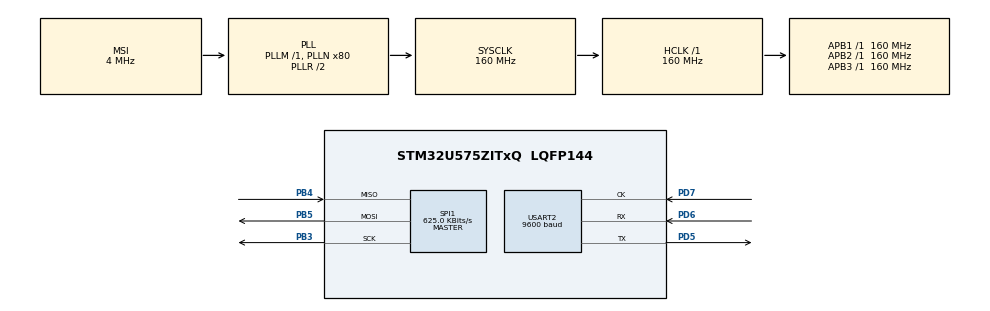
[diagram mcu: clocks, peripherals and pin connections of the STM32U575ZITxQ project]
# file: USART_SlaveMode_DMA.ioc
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CORTEX_M33_NS.userName=CORTEX_M33
GPDMA1.DESTINC_GPDMACH1=DMA_DINC_INCREMENTED
GPDMA1.DESTINC_GPDMACH3=DMA_DINC_INCREMENTED
GPDMA1.DIRECTION_GPDMACH0=DMA_MEMORY_TO_PERIPH
GPDMA1.DIRECTION_GPDMACH2=DMA_MEMORY_TO_PERIPH
GPDMA1.IPHANDLE_GPDMACH0-SIMPLEREQUEST_GPDMACH0=__NULL
GPDMA1.IPHANDLE_GPDMACH1-SIMPLEREQUEST_GPDMACH1=__NULL
GPDMA1.IPHANDLE_GPDMACH2-SIMPLEREQUEST_GPDMACH2=__NULL
GPDMA1.IPHANDLE_GPDMACH3-SIMPLEREQUEST_GPDMACH3=__NULL
GPDMA1.PRIORITY_GPDMACH0=DMA_HIGH_PRIORITY
GPDMA1.PRIORITY_GPDMACH1=DMA_HIGH_PRIORITY
GPDMA1.PRIORITY_GPDMACH2=DMA_HIGH_PRIORITY
GPDMA1.PRIORITY_GPDMACH3=DMA_HIGH_PRIORITY
GPDMA1.REQUEST_GPDMACH0=GPDMA1_REQUEST_USART2_TX
GPDMA1.REQUEST_GPDMACH1=GPDMA1_REQUEST_USART2_RX
GPDMA1.REQUEST_GPDMACH2=GPDMA1_REQUEST_SPI1_TX
GPDMA1.REQUEST_GPDMACH3=GPDMA1_REQUEST_SPI1_RX
GPDMA1.SRCINC_GPDMACH0=DMA_SINC_INCREMENTED
GPDMA1.SRCINC_GPDMACH2=DMA_SINC_INCREMENTED
GPDMA1.SRCINC_GPDMACH3=DMA_SINC_FIXED
GPDMA1.TRANSFERALLOCATEDPORTDEST_GPDMACH0=DMA_DEST_ALLOCATED_PORT1
GPDMA1.TRANSFERALLOCATEDPORTDEST_GPDMACH1=DMA_DEST_ALLOCATED_PORT1
GPDMA1.TRANSFERALLOCATEDPORTDEST_GPDMACH2=DMA_DEST_ALLOCATED_PORT1
GPDMA1.TRANSFERALLOCATEDPORTDEST_GPDMACH3=DMA_DEST_ALLOCATED_PORT1
Mcu.Family=STM32U5
Mcu.Name=STM32U575ZITxQ
Mcu.Package=LQFP144
NVIC.GPDMA1_Channel0_IRQn=true\:0\:0\:false\:false\:true\:false\:true\:true
NVIC.GPDMA1_Channel1_IRQn=true\:0\:0\:false\:false\:true\:false\:true\:true
NVIC.GPDMA1_Channel2_IRQn=true\:0\:0\:false\:false\:true\:false\:true\:true
NVIC.GPDMA1_Channel3_IRQn=true\:0\:0\:false\:false\:true\:false\:true\:true
NVIC.PriorityGroup=NVIC_PRIORITYGROUP_4
NVIC.SPI1_IRQn=true\:0\:0\:false\:false\:true\:true\:true\:true
NVIC.USART2_IRQn=true\:0\:0\:false\:false\:true\:true\:true\:true
PB3\ (JTDO/TRACESWO).GPIO_PuPd=GPIO_NOPULL
PB3\ (JTDO/TRACESWO).GPIO_Speed=GPIO_SPEED_FREQ_VERY_HIGH
PB3\ (JTDO/TRACESWO).Mode=Full_Duplex_Master
PB3\ (JTDO/TRACESWO).Signal=SPI1_SCK
PB4\ (NJTRST).GPIO_PuPd=GPIO_NOPULL
PB4\ (NJTRST).GPIO_Speed=GPIO_SPEED_FREQ_VERY_HIGH
PB4\ (NJTRST).Mode=Full_Duplex_Master
PB4\ (NJTRST).Signal=SPI1_MISO
PB5.GPIO_PuPd=GPIO_NOPULL
PB5.GPIO_Speed=GPIO_SPEED_FREQ_VERY_HIGH
PB5.Mode=Full_Duplex_Master
PB5.Signal=SPI1_MOSI
PD5.GPIO_PuPd=GPIO_NOPULL
PD5.GPIO_Speed=GPIO_SPEED_FREQ_VERY_HIGH
PD5.Mode=Synchronous Slave
PD5.Signal=USART2_TX
PD6.GPIO_PuPd=GPIO_NOPULL
PD6.GPIO_Speed=GPIO_SPEED_FREQ_VERY_HIGH
PD6.Mode=Synchronous Slave
PD6.Signal=USART2_RX
PD7.GPIO_PuPd=GPIO_NOPULL
PD7.GPIO_Speed=GPIO_SPEED_FREQ_VERY_HIGH
PD7.Mode=Synchronous Slave
PD7.Signal=USART2_CK
PWR.PowerMode=PWR_SMPS_SUPPLY
ProjectManager.HeapSize=0x200
ProjectManager.StackSize=0x400
ProjectManager.TargetToolchain=EWARM V8.50
RCC.ADCFreq_Value=16000000
RCC.AHBFreq_Value=160000000
RCC.APB1Freq_Value=160000000
RCC.APB1TimFreq_Value=160000000
RCC.APB2Freq_Value=160000000
RCC.APB2TimFreq_Value=160000000
RCC.APB3Freq_Value=160000000
RCC.CortexFreq_Value=160000000
RCC.DACCLockSelectionVirtual=RCC_DAC1CLKSOURCE_LSI
RCC.DACCLockSelectionVirtualString=RCC_DAC1CLKSOURCE_LSI
RCC.EPOD_VALUE=4000000
RCC.HCLKFreq_Value=160000000
RCC.HSE_VALUE=16000000
RCC.HSI48_VALUE=48000000
RCC.HSI_VALUE=16000000
RCC.LSE_VALUE=32768
RCC.LSIDIV_VALUE=32000
RCC.MSI_VALUE=4000000
RCC.PLLN=80
RCC.SYSCLKFreq_VALUE=160000000
RCC.SYSCLKSource=RCC_SYSCLKSOURCE_PLLCLK
RCC.USBFreq_Value=48000000
RCC.VCOOutputFreq_Value=320000000
SPI1.BaudRatePrescaler=SPI_BAUDRATEPRESCALER_256
SPI1.CalculateBaudRate=625.0 KBits/s
SPI1.DataSize=SPI_DATASIZE_8BIT
SPI1.Direction=SPI_DIRECTION_2LINES
SPI1.FirstBit=SPI_FIRSTBIT_LSB
SPI1.MasterKeepIOState=SPI_MASTER_KEEP_IO_STATE_ENABLE
SPI1.Mode=SPI_MODE_MASTER
SPI1.NSSPMode=SPI_NSS_PULSE_DISABLE
SPI1.VirtualType=VM_MASTER
USART2.BaudRate=9600
USART2.CLKLastBit=USART_LASTBIT_ENABLE
USART2.RXFIFOThreshold=RXFIFO_THRESHOLD_1EIGHTHFULL
USART2.TXFIFOThreshold=TXFIFO_THRESHOLD_1EIGHTHFULL
USART2.VirtualMode-Synchronous\ Slave=VM_SYNC
VP_GPDMA1_VS_GPDMACH0.Mode=SIMPLEREQUEST_GPDMACH0
VP_GPDMA1_VS_GPDMACH1.Mode=SIMPLEREQUEST_GPDMACH1
VP_GPDMA1_VS_GPDMACH2.Mode=SIMPLEREQUEST_GPDMACH2
VP_GPDMA1_VS_GPDMACH3.Mode=SIMPLEREQUEST_GPDMACH3
VP_ICACHE_VS_ICACHE.Mode=DirectMappedCache
VP_LPBAMQUEUE_VS_QUEUE.Mode=QUEUEMODE
VP_LPBAM_VS_SIG1.Mode=SmartRun
VP_LPBAM_VS_SIG4.Mode=LPDMA1
VP_PWR_VS_DBSignals.Mode=DisableDeadBatterySignals
VP_PWR_VS_LPOM.Mode=PowerOptimisation
VP_PWR_VS_SECSignals.Mode=Security/Privilege
board=custom

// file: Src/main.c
/* USER CODE BEGIN Header */
/**
  ******************************************************************************
  * @file           : main.c
  * @brief          : Main program body
  ******************************************************************************
  * @attention
  *
  * Copyright (c) 2021 STMicroelectronics.
  * All rights reserved.
  *
  * This software is licensed under terms that can be found in the LICENSE file
  * in the root directory of this software component.
  * If no LICENSE file comes with this software, it is provided AS-IS.
  *
  ******************************************************************************
  */
/* USER CODE END Header */
#include "main.h"

SPI_HandleTypeDef hspi1;
DMA_HandleTypeDef handle_GPDMA1_Channel3;
DMA_HandleTypeDef handle_GPDMA1_Channel2;

USART_HandleTypeDef husart2;
DMA_HandleTypeDef handle_GPDMA1_Channel1;
DMA_HandleTypeDef handle_GPDMA1_Channel0;

/* USER CODE BEGIN PV */
__IO uint32_t UserButtonStatus = 0; /* set to 1 after User Button interrupt */
__IO ITStatus UsartReady = RESET;
__IO ITStatus SpiReady = RESET;

/* Buffer used for transmission */
uint8_t aTxBuffer[] = " **** USART_SlaveMode ****  **** USART_SlaveMode ****  **** USART_SlaveMode **** ";

/* Buffer used for reception */
uint8_t aRxBuffer[RXBUFFERSIZE];
/* USER CODE END PV */

void SystemClock_Config(void);
static void SystemPower_Config(void);
static void MX_GPIO_Init(void);
static void MX_GPDMA1_Init(void);
static void MX_ICACHE_Init(void);
static void MX_USART2_Init(void);
static void MX_SPI1_Init(void);
/* USER CODE BEGIN PFP */
static uint16_t Buffercmp(uint8_t* pBuffer1, uint8_t* pBuffer2, uint16_t BufferLength);
/* USER CODE END PFP */

int main(void)
{

  /* USER CODE BEGIN 1 */
  /* STM32U5xx HAL library initialization:
       - Configure the Flash prefetch
       - Configure the Systick to generate an interrupt each 1 msec
       - Set NVIC Group Priority to 3
       - Low Level Initialization
     */
  /* USER CODE END 1 */

  /* MCU Configuration--------------------------------------------------------*/

  /* Reset of all peripherals, Initializes the Flash interface and the Systick. */
  HAL_Init();

  /* Configure the System Power */
  SystemPower_Config();

  /* Configure the system clock */
  SystemClock_Config();

  /* Initialize all configured peripherals */
  MX_GPIO_Init();
  MX_GPDMA1_Init();
  MX_ICACHE_Init();
  MX_USART2_Init();
  MX_SPI1_Init();
  /* USER CODE BEGIN 2 */
  /* Configure LED1, LED2 and LED3 */
  BSP_LED_Init(LED1);
  BSP_LED_Init(LED2);
  BSP_LED_Init(LED3);

#ifdef SLAVE_BOARD
  /* Configure the Slave Select input pin */
  HAL_USARTEx_ConfigNSS(&husart2, USART_NSS_SOFT);

  /*##-2- Start the transmission/reception process ###########################*/
  if(HAL_USART_TransmitReceive_DMA(&husart2, (uint8_t*)aTxBuffer, (uint8_t*)aRxBuffer, TXBUFFERSIZE)!= HAL_OK)
  {
    Error_Handler();
  }

  /* Wait of USART state ready */
  while(UsartReady == RESET)
  {
    /* Toggle LED2*/
    BSP_LED_Toggle(LED2);
    HAL_Delay(100);
  }
  BSP_LED_Off(LED2);

#else

   /* Configure User push-button in Interrupt mode */
  BSP_PB_Init(BUTTON_USER, BUTTON_MODE_EXTI);

  /* Wait for User push-button press before starting the Communication.
     In the meantime, LED2 is blinking */
  while(UserButtonStatus == 0)
  {
    /* Toggle LED2*/
    BSP_LED_Toggle(LED2);
    HAL_Delay(100);
  }
  BSP_LED_Off(LED2);

  /*##-2- Start the transmission/reception process ###########################*/
  if(HAL_SPI_TransmitReceive_DMA(&hspi1, (uint8_t*)aTxBuffer, (uint8_t*)aRxBuffer, TXBUFFERSIZE)!= HAL_OK)
  {
    Error_Handler();
  }

  /* Wait of SPI state ready */
  while(SpiReady == RESET);

#endif /* SLAVE_BOARD */

  /*##-4- Compare the sent and received buffers ##############################*/
  if(Buffercmp((uint8_t*)aTxBuffer,(uint8_t*)aRxBuffer,RXBUFFERSIZE))
  {
    Error_Handler();
  }

  /* Turn on LED1 if test passes then enter infinite loop */
  BSP_LED_On(LED1);
  /* USER CODE END 2 */

  /* Infinite loop */
  while (1)
  {

  }
}

void SystemClock_Config(void)
{
  RCC_OscInitTypeDef RCC_OscInitStruct = {0};
  RCC_ClkInitTypeDef RCC_ClkInitStruct = {0};

  /** Configure the main internal regulator output voltage
  */
  if (HAL_PWREx_ControlVoltageScaling(PWR_REGULATOR_VOLTAGE_SCALE1) != HAL_OK)
  {
    Error_Handler();
  }

  /** Initializes the CPU, AHB and APB buses clocks
  */
  RCC_OscInitStruct.OscillatorType = RCC_OSCILLATORTYPE_MSI;
  RCC_OscInitStruct.MSIState = RCC_MSI_ON;
  RCC_OscInitStruct.MSICalibrationValue = RCC_MSICALIBRATION_DEFAULT;
  RCC_OscInitStruct.MSIClockRange = RCC_MSIRANGE_4;
  RCC_OscInitStruct.PLL.PLLState = RCC_PLL_ON;
  RCC_OscInitStruct.PLL.PLLSource = RCC_PLLSOURCE_MSI;
  RCC_OscInitStruct.PLL.PLLMBOOST = RCC_PLLMBOOST_DIV1;
  RCC_OscInitStruct.PLL.PLLM = 1;
  RCC_OscInitStruct.PLL.PLLN = 80;
  RCC_OscInitStruct.PLL.PLLP = 2;
  RCC_OscInitStruct.PLL.PLLQ = 2;
  RCC_OscInitStruct.PLL.PLLR = 2;
  RCC_OscInitStruct.PLL.PLLRGE = RCC_PLLVCIRANGE_0;
  RCC_OscInitStruct.PLL.PLLFRACN = 0;
  if (HAL_RCC_OscConfig(&RCC_OscInitStruct) != HAL_OK)
  {
    Error_Handler();
  }

  /** Initializes the CPU, AHB and APB buses clocks
  */
  RCC_ClkInitStruct.ClockType = RCC_CLOCKTYPE_HCLK|RCC_CLOCKTYPE_SYSCLK
                              |RCC_CLOCKTYPE_PCLK1|RCC_CLOCKTYPE_PCLK2
                              |RCC_CLOCKTYPE_PCLK3;
  RCC_ClkInitStruct.SYSCLKSource = RCC_SYSCLKSOURCE_PLLCLK;
  RCC_ClkInitStruct.AHBCLKDivider = RCC_SYSCLK_DIV1;
  RCC_ClkInitStruct.APB1CLKDivider = RCC_HCLK_DIV1;
  RCC_ClkInitStruct.APB2CLKDivider = RCC_HCLK_DIV1;
  RCC_ClkInitStruct.APB3CLKDivider = RCC_HCLK_DIV1;

  if (HAL_RCC_ClockConfig(&RCC_ClkInitStruct, FLASH_LATENCY_4) != HAL_OK)
  {
    Error_Handler();
  }
}

/**
  * @brief Power Configuration
  * @retval None
  */
static void SystemPower_Config(void)
{

  /*
   * Disable the internal Pull-Up in Dead Battery pins of UCPD peripheral
   */
  HAL_PWREx_DisableUCPDDeadBattery();

  /*
   * Switch to SMPS regulator instead of LDO
   */
  if (HAL_PWREx_ConfigSupply(PWR_SMPS_SUPPLY) != HAL_OK)
  {
    Error_Handler();
  }
}

static void MX_GPDMA1_Init(void)
{

  /* Peripheral clock enable */
  __HAL_RCC_GPDMA1_CLK_ENABLE();

  /* GPDMA1 interrupt Init */
    HAL_NVIC_SetPriority(GPDMA1_Channel0_IRQn, 0, 0);
    HAL_NVIC_EnableIRQ(GPDMA1_Channel0_IRQn);
    HAL_NVIC_SetPriority(GPDMA1_Channel1_IRQn, 0, 0);
    HAL_NVIC_EnableIRQ(GPDMA1_Channel1_IRQn);
    HAL_NVIC_SetPriority(GPDMA1_Channel2_IRQn, 0, 0);
    HAL_NVIC_EnableIRQ(GPDMA1_Channel2_IRQn);
    HAL_NVIC_SetPriority(GPDMA1_Channel3_IRQn, 0, 0);
    HAL_NVIC_EnableIRQ(GPDMA1_Channel3_IRQn);

}

static void MX_ICACHE_Init(void)
{

  /** Enable instruction cache in 1-way (direct mapped cache)
  */
  if (HAL_ICACHE_ConfigAssociativityMode(ICACHE_1WAY) != HAL_OK)
  {
    Error_Handler();
  }
  if (HAL_ICACHE_Enable() != HAL_OK)
  {
    Error_Handler();
  }

}

static void MX_SPI1_Init(void)
{

  SPI_AutonomousModeConfTypeDef HAL_SPI_AutonomousMode_Cfg_Struct = {0};

  /* SPI1 parameter configuration*/
  hspi1.Instance = SPI1;
  hspi1.Init.Mode = SPI_MODE_MASTER;
  hspi1.Init.Direction = SPI_DIRECTION_2LINES;
  hspi1.Init.DataSize = SPI_DATASIZE_8BIT;
  hspi1.Init.CLKPolarity = SPI_POLARITY_LOW;
  hspi1.Init.CLKPhase = SPI_PHASE_1EDGE;
  hspi1.Init.NSS = SPI_NSS_SOFT;
  hspi1.Init.BaudRatePrescaler = SPI_BAUDRATEPRESCALER_256;
  hspi1.Init.FirstBit = SPI_FIRSTBIT_LSB;
  hspi1.Init.TIMode = SPI_TIMODE_DISABLE;
  hspi1.Init.CRCCalculation = SPI_CRCCALCULATION_DISABLE;
  hspi1.Init.CRCPolynomial = 0x7;
  hspi1.Init.NSSPMode = SPI_NSS_PULSE_DISABLE;
  hspi1.Init.NSSPolarity = SPI_NSS_POLARITY_LOW;
  hspi1.Init.FifoThreshold = SPI_FIFO_THRESHOLD_01DATA;
  hspi1.Init.MasterSSIdleness = SPI_MASTER_SS_IDLENESS_00CYCLE;
  hspi1.Init.MasterInterDataIdleness = SPI_MASTER_INTERDATA_IDLENESS_00CYCLE;
  hspi1.Init.MasterReceiverAutoSusp = SPI_MASTER_RX_AUTOSUSP_DISABLE;
  hspi1.Init.MasterKeepIOState = SPI_MASTER_KEEP_IO_STATE_ENABLE;
  hspi1.Init.IOSwap = SPI_IO_SWAP_DISABLE;
  hspi1.Init.ReadyMasterManagement = SPI_RDY_MASTER_MANAGEMENT_INTERNALLY;
  hspi1.Init.ReadyPolarity = SPI_RDY_POLARITY_HIGH;
  if (HAL_SPI_Init(&hspi1) != HAL_OK)
  {
    Error_Handler();
  }
  HAL_SPI_AutonomousMode_Cfg_Struct.TriggerState = SPI_AUTO_MODE_DISABLE;
  HAL_SPI_AutonomousMode_Cfg_Struct.TriggerSelection = SPI_GRP1_GPDMA_CH0_TCF_TRG;
  HAL_SPI_AutonomousMode_Cfg_Struct.TriggerPolarity = SPI_TRIG_POLARITY_RISING;
  if (HAL_SPIEx_SetConfigAutonomousMode(&hspi1, &HAL_SPI_AutonomousMode_Cfg_Struct) != HAL_OK)
  {
    Error_Handler();
  }

}

static void MX_USART2_Init(void)
{

  husart2.Instance = USART2;
  husart2.Init.BaudRate = 9600;
  husart2.Init.WordLength = USART_WORDLENGTH_8B;
  husart2.Init.StopBits = USART_STOPBITS_1;
  husart2.Init.Parity = USART_PARITY_NONE;
  husart2.Init.Mode = USART_MODE_TX_RX;
  husart2.Init.CLKPolarity = USART_POLARITY_LOW;
  husart2.Init.CLKPhase = USART_PHASE_1EDGE;
  husart2.Init.CLKLastBit = USART_LASTBIT_ENABLE;
  husart2.Init.ClockPrescaler = USART_PRESCALER_DIV1;
  husart2.SlaveMode = USART_SLAVEMODE_ENABLE;
  if (HAL_USART_Init(&husart2) != HAL_OK)
  {
    Error_Handler();
  }
  if (HAL_USARTEx_SetTxFifoThreshold(&husart2, USART_TXFIFO_THRESHOLD_1_8) != HAL_OK)
  {
    Error_Handler();
  }
  if (HAL_USARTEx_SetRxFifoThreshold(&husart2, USART_RXFIFO_THRESHOLD_1_8) != HAL_OK)
  {
    Error_Handler();
  }
  if (HAL_USARTEx_DisableFifoMode(&husart2) != HAL_OK)
  {
    Error_Handler();
  }
  if (HAL_USARTEx_EnableSlaveMode(&husart2) != HAL_OK)
  {
    Error_Handler();
  }

}

static void MX_GPIO_Init(void)
{

  /* GPIO Ports Clock Enable */
  __HAL_RCC_GPIOD_CLK_ENABLE();
  __HAL_RCC_GPIOB_CLK_ENABLE();

}

/* USER CODE BEGIN 4 */
/**
  * @brief  TX/Rx Transfer completed callback
  * @param  UsartHandle: USART handle
  * @note   This example shows a simple way to report end of DMA TX/Rx transfer, and
  *         you can add your own implementation.
  * @retval None
  */
void HAL_USART_TxRxCpltCallback(USART_HandleTypeDef *UsartHandle)
{
  /* Set transmission flag: transfer complete */
  UsartReady = SET;

}

/**
  * @brief  TX/Rx Transfer completed callback
  * @param  SpiHandle: SPI handle
  * @note   This example shows a simple way to report end of DMA TX/Rx transfer, and
  *         you can add your own implementation.
  * @retval None
  */
void HAL_SPI_TxRxCpltCallback(SPI_HandleTypeDef *SpiHandle)
{
  /* Set transmission flag: transfer complete */
  SpiReady = SET;
}

/**
  * @brief  UART error callbacks
  * @param  UartHandle: UART handle
  * @note   This example shows a simple way to report transfer error, and you can
  *         add your own implementation.
  * @retval None
  */
void HAL_USART_ErrorCallback(USART_HandleTypeDef *UsartHandle)
{
    Error_Handler();
}

/**
  * @brief EXTI line detection callbacks
  * @param GPIO_Pin: Specifies the pins connected EXTI line
  * @retval None
  */
void BSP_PB_Callback(Button_TypeDef Button)
{
  if(Button == BUTTON_USER)
  {
    UserButtonStatus = 1;
  }
}

/**
  * @brief  Compares two buffers.
  * @param  pBuffer1, pBuffer2: buffers to be compared.
  * @param  BufferLength: buffer's length
  * @retval 0  : pBuffer1 identical to pBuffer2
  *         >0 : pBuffer1 differs from pBuffer2
  */
static uint16_t Buffercmp(uint8_t* pBuffer1, uint8_t* pBuffer2, uint16_t BufferLength)
{
  while (BufferLength--)
  {
    if ((*pBuffer1) != *pBuffer2)
    {
      return BufferLength;
    }
    pBuffer1++;
    pBuffer2++;
  }

  return 0;
}
/* USER CODE END 4 */

void Error_Handler(void)
{
  /* USER CODE BEGIN Error_Handler_Debug */
  /* Turn LED3 on */
  BSP_LED_On(LED3);
  __disable_irq();
  while (1)
  {
  }
  /* USER CODE END Error_Handler_Debug */
}
